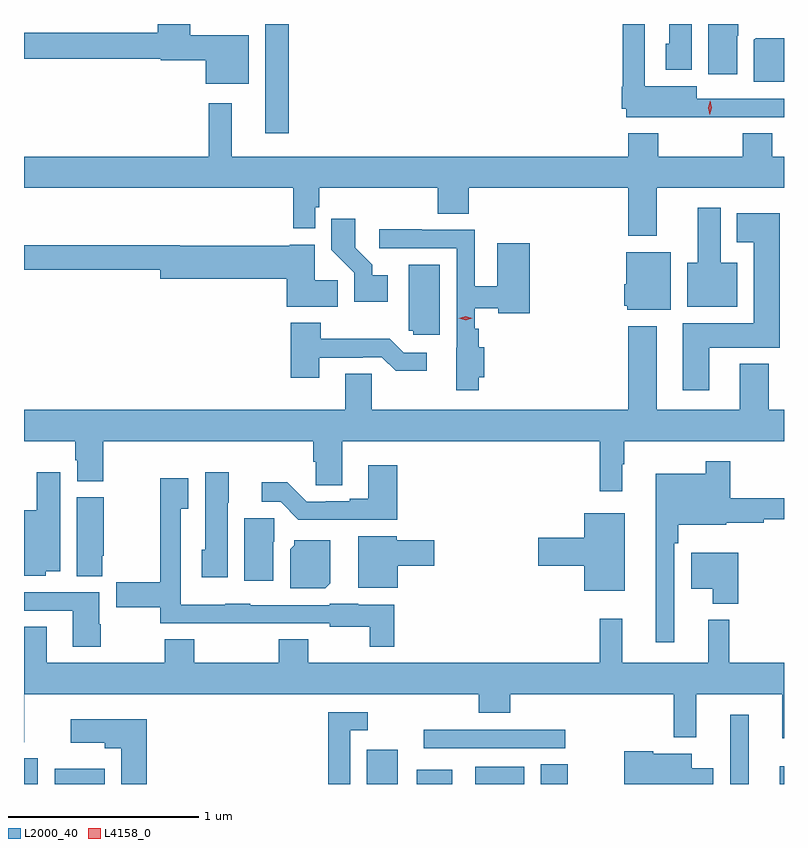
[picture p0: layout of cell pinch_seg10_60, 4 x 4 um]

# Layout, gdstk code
import gdstk
lib = gdstk.Library(unit=1e-6, precision=1e-09)
def R(c, l, rs):  # rectangles x0, y0, x1, y1
    for r in rs: c.add(gdstk.rectangle(r[:2], r[2:], *l))
def P(c, l, *ps):  # polygons
    for p in ps: c.add(gdstk.Polygon(p, *l))
L2000_40 = (2000, 40)
L4158_0 = (4158, 0)

pinch_seg10_60 = lib.new_cell('pinch_seg10_60')
R(pinch_seg10_60, L2000_40, [(837.066,1311.831,837.139,1311.967), (837.227,1311.831,837.49,1311.91), (838.871,1311.831,839.032,1312.012), (839.132,1311.831,839.32,1311.907), (839.441,1311.831,839.698,1311.922), (839.786,1311.831,839.928,1311.935), (840.783,1311.831,840.88,1312.195), (841.043,1311.831,841.066,1311.925), (839.169,1312.02,839.914,1312.116), (838.337,1315.257,838.459,1315.831)])
P(pinch_seg10_60, L2000_40, [(840.58,1315.831),(840.461,1315.831),(840.461,1315.728),(840.443,1315.728),(840.443,1315.589),(840.58,1315.589)],
  [(840.82,1315.77),(840.824,1315.77),(840.824,1315.831),(840.668,1315.831),(840.668,1315.566),(840.82,1315.566)],
  [(838.249,1315.771),(837.94,1315.771),(837.94,1315.831),(837.77,1315.831),(837.77,1315.784),(837.066,1315.784),(837.066,1315.648),(837.786,1315.648),(837.786,1315.64),(838.022,1315.64),(838.022,1315.517),(838.249,1315.517)],
  [(840.599,1315.341),(841.066,1315.341),(841.066,1315.437),(840.607,1315.437),(840.607,1315.504),(840.333,1315.504),(840.333,1315.831),(840.217,1315.831),(840.217,1315.5),(840.212,1315.5),(840.212,1315.386),(840.236,1315.386),(840.236,1315.34),(840.599,1315.34)],
  [(841.066,1315.756),(840.916,1315.756),(840.908,1315.748),(840.908,1315.526),(841.066,1315.526)],
  [(840.397,1314.968),(841.066,1314.968),(841.066,1315.132),(841.005,1315.132),(841.005,1315.256),(840.85,1315.256),(840.85,1315.132),(840.405,1315.132),(840.405,1315.255),(840.245,1315.255),(840.245,1315.132),(838.159,1315.132),(838.159,1315.414),(838.038,1315.414),(838.038,1315.132),(837.066,1315.132),(837.066,1314.968),(838.483,1314.968),(838.483,1314.755),(838.599,1314.755),(838.599,1314.867),(838.619,1314.867),(838.619,1314.968),(839.243,1314.968),(839.243,1314.832),(839.408,1314.832),(839.408,1314.968),(840.245,1314.968),(840.245,1314.716),(840.397,1314.716)],
  [(840.82,1314.574),(840.733,1314.574),(840.733,1314.865),(840.611,1314.865),(840.611,1314.574),(840.557,1314.574),(840.557,1314.344),(840.82,1314.344)],
  [(840.673,1314.128),(841.043,1314.128),(841.043,1314.835),(840.818,1314.835),(840.818,1314.683),(840.908,1314.683),(840.908,1314.256),(840.533,1314.256),(840.533,1313.904),(840.673,1313.904)],
  [(838.981,1314.508),(838.9,1314.508),(838.9,1314.563),(838.81,1314.653),(838.81,1314.805),(838.684,1314.805),(838.684,1314.642),(838.803,1314.523),(838.803,1314.368),(838.981,1314.368)],
  [(839.459,1313.972),(839.489,1313.972),(839.489,1314.13),(839.459,1314.13),(839.459,1314.227),(839.439,1314.227),(839.439,1314.335),(839.562,1314.335),(839.562,1314.308),(839.729,1314.308),(839.729,1314.676),(839.558,1314.676),(839.558,1314.452),(839.439,1314.452),(839.439,1314.747),(839.159,1314.747),(839.159,1314.75),(838.935,1314.75),(838.935,1314.651),(839.343,1314.651),(839.343,1314.126),(839.342,1314.126),(839.342,1313.904),(839.459,1313.904)],
  [(838.718,1314.482),(838.597,1314.482),(838.597,1314.67),(838.464,1314.67),(838.464,1314.663),(837.886,1314.663),(837.886,1314.667),(837.066,1314.667),(837.066,1314.538),(837.782,1314.538),(837.782,1314.491),(838.448,1314.491),(838.448,1314.344),(838.718,1314.344)],
  [(840.469,1314.631),(840.236,1314.631),(840.236,1314.462),(840.224,1314.462),(840.224,1314.348),(840.24,1314.348),(840.24,1314.326),(840.469,1314.326)],
  [(839.254,1314.565),(839.09,1314.565),(839.09,1314.216),(839.115,1314.216),(839.115,1314.195),(839.254,1314.195)],
  [(838.621,1314.075),(838.85,1314.075),(838.85,1314.078),(838.95,1314.078),(839.023,1314.005),(839.185,1314.005),(839.185,1314.102),(839.064,1314.102),(838.991,1314.175),(838.629,1314.175),(838.629,1314.259),(838.469,1314.259),(838.469,1313.97),(838.621,1313.97)],
  [(840.214,1313.513),(840.226,1313.513),(840.226,1313.636),(841.066,1313.636),(841.066,1313.8),(840.986,1313.8),(840.986,1314.043),(840.833,1314.043),(840.833,1313.8),(840.397,1313.8),(840.397,1314.241),(840.245,1314.241),(840.245,1313.8),(838.896,1313.8),(838.896,1313.99),(838.757,1313.99),(838.757,1313.8),(837.066,1313.8),(837.066,1313.636),(837.335,1313.636),(837.335,1313.535),(837.347,1313.535),(837.347,1313.425),(837.483,1313.425),(837.483,1313.636),(838.589,1313.636),(838.589,1313.526),(838.602,1313.526),(838.602,1313.404),(838.741,1313.404),(838.741,1313.636),(840.097,1313.636),(840.097,1313.373),(840.214,1313.373)],
  [(840.489,1313.099),(840.509,1313.099),(840.509,1313.195),(840.763,1313.195),(840.763,1313.206),(840.959,1313.206),(840.959,1313.225),(841.066,1313.225),(841.066,1313.335),(840.782,1313.335),(840.782,1313.53),(840.654,1313.53),(840.654,1313.464),(840.392,1313.464),(840.392,1312.578),(840.489,1312.578)],
  [(839.03,1313.509),(838.877,1313.509),(838.877,1313.332),(838.781,1313.332),(838.781,1313.319),(838.654,1313.319),(838.654,1313.316),(838.554,1313.316),(838.452,1313.419),(838.317,1313.419),(838.317,1313.316),(838.416,1313.316),(838.51,1313.222),(839.03,1313.222)],
  [(837.18,1312.952),(837.256,1312.952),(837.256,1313.473),(837.134,1313.473),(837.134,1313.272),(837.066,1313.272),(837.066,1312.928),(837.18,1312.928)],
  [(838.138,1313.31),(838.144,1313.31),(838.144,1313.473),(838.019,1313.473),(838.019,1313.064),(838.001,1313.064),(838.001,1312.92),(838.138,1312.92)],
  [(839.015,1312.774),(838.824,1312.774),(838.824,1312.78),(838.674,1312.78),(838.674,1312.773),(838.257,1312.773),(838.257,1312.78),(838.125,1312.78),(838.125,1312.774),(837.891,1312.774),(837.891,1313.279),(837.931,1313.279),(837.931,1313.44),(837.783,1313.44),(837.783,1312.894),(837.552,1312.894),(837.552,1312.762),(837.783,1312.762),(837.783,1312.677),(838.025,1312.677),(838.025,1312.676),(838.257,1312.676),(838.257,1312.677),(838.674,1312.677),(838.674,1312.658),(838.887,1312.658),(838.887,1312.553),(839.015,1312.553)],
  [(837.477,1313.032),(837.486,1313.032),(837.486,1313.34),(837.344,1313.34),(837.344,1312.924),(837.477,1312.924)],
  [(840.229,1313.257),(840.014,1313.257),(840.014,1313.126),(839.772,1313.126),(839.772,1312.979),(840.014,1312.979),(840.014,1312.847),(840.229,1312.847)],
  [(838.378,1313.106),(838.382,1313.106),(838.382,1313.229),(838.226,1313.229),(838.226,1312.902),(838.378,1312.902)],
  [(839.032,1312.979),(839.224,1312.979),(839.224,1313.113),(839.028,1313.113),(839.028,1313.134),(838.826,1313.134),(838.826,1312.865),(839.032,1312.865)],
  [(838.678,1312.888),(838.678,1313.113),(838.488,1313.113),(838.488,1313.088),(838.466,1313.066),(838.466,1312.862),(838.652,1312.862)],
  [(840.826,1313.047),(840.578,1313.047),(840.578,1312.859),(840.692,1312.859),(840.692,1312.781),(840.826,1312.781)],
  [(837.471,1312.673),(837.463,1312.673),(837.463,1312.839),(837.066,1312.839),(837.066,1312.743),(837.323,1312.743),(837.323,1312.554),(837.471,1312.554)],
  [(837.067,1312.304),(839.459,1312.304),(839.459,1312.205),(839.624,1312.205),(839.624,1312.304),(840.487,1312.304),(840.487,1312.076),(840.605,1312.076),(840.605,1312.304),(841.058,1312.304),(841.058,1312.071),(841.066,1312.071),(841.066,1312.468),(840.778,1312.468),(840.778,1312.696),(840.668,1312.696),(840.668,1312.468),(840.215,1312.468),(840.215,1312.702),(840.097,1312.702),(840.097,1312.468),(838.563,1312.468),(838.563,1312.592),(838.408,1312.592),(838.408,1312.468),(837.963,1312.468),(837.963,1312.592),(837.808,1312.592),(837.808,1312.468),(837.187,1312.468),(837.187,1312.658),(837.066,1312.658),(837.066,1312.052),(837.067,1312.052)],
  [(838.782,1312.113),(838.876,1312.113),(838.876,1312.209),(838.666,1312.209),(838.666,1311.831),(838.782,1311.831)],
  [(837.713,1312.171),(837.312,1312.171),(837.312,1312.049),(837.491,1312.049),(837.491,1312.019),(837.578,1312.019),(837.578,1311.831),(837.713,1311.831)],
  [(840.694,1311.913),(840.58,1311.913),(840.58,1311.991),(840.378,1311.991),(840.378,1312.003),(840.224,1312.003),(840.224,1311.831),(840.694,1311.831)])
P(pinch_seg10_60, L4158_0, [(840.675,1315.354),(840.675,1315.354),(840.667,1315.391),(840.679,1315.426),(840.679,1315.426),(840.679,1315.426),(840.687,1315.39),(840.676,1315.354)],
  [(839.391,1314.273),(839.355,1314.283),(839.355,1314.283),(839.355,1314.283),(839.391,1314.293),(839.426,1314.283),(839.426,1314.283),(839.426,1314.283)])

lib.write_gds('pinch_seg10_60.gds')
